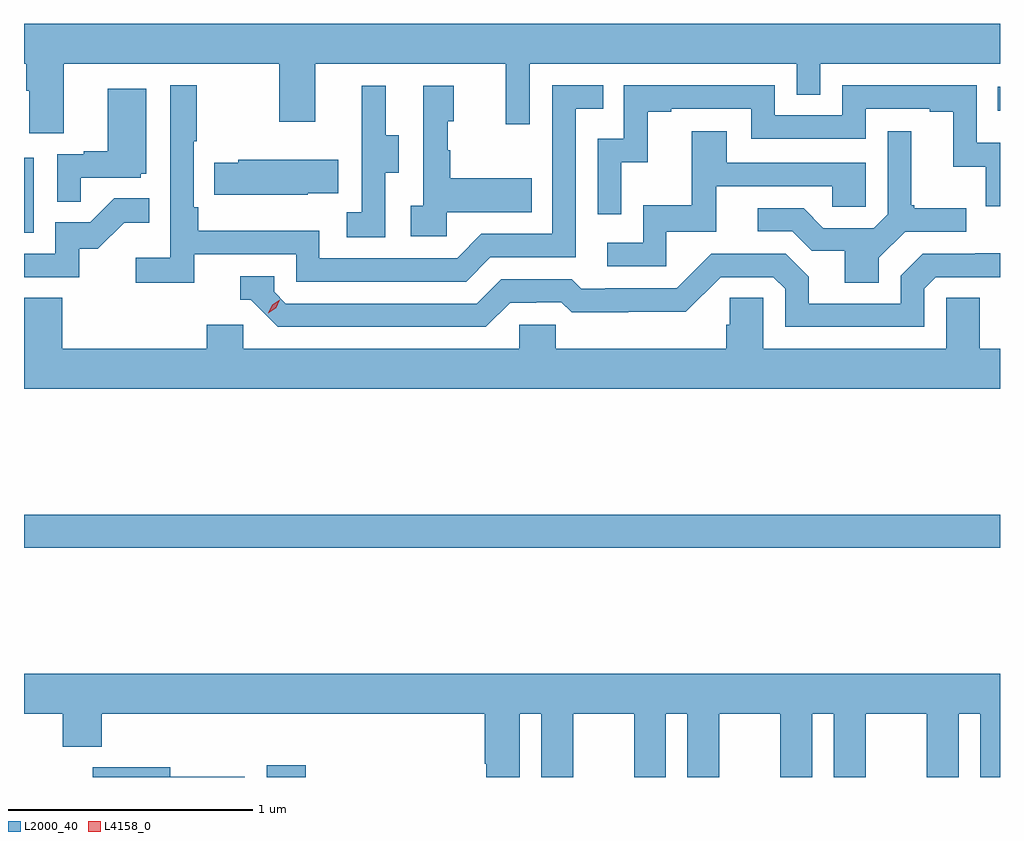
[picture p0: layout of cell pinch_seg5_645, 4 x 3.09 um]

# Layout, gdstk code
import gdstk
lib = gdstk.Library(unit=1e-6, precision=1e-09)
def R(c, l, rs):  # rectangles x0, y0, x1, y1
    for r in rs: c.add(gdstk.rectangle(r[:2], r[2:], *l))
def P(c, l, *ps):  # polygons
    for p in ps: c.add(gdstk.Polygon(p, *l))
L2000_40 = (2000, 40)
L4158_0 = (4158, 0)

pinch_seg5_645 = lib.new_cell('pinch_seg5_645')
R(pinch_seg5_645, L2000_40, [(1047.113,840.515,1047.274,840.565), (1046.119,841.456,1050.119,841.592), (1046.119,842.748,1046.158,843.055), (1050.109,843.248,1050.119,843.345)])
P(pinch_seg5_645, L2000_40, [(1046.281,843.44),(1047.166,843.44),(1047.166,843.201),(1047.313,843.201),(1047.313,843.44),(1048.094,843.44),(1048.094,843.192),(1048.191,843.192),(1048.191,843.44),(1049.286,843.44),(1049.286,843.313),(1049.382,843.313),(1049.382,843.44),(1050.119,843.44),(1050.119,843.604),(1046.119,843.604),(1046.119,843.44),(1046.129,843.44),(1046.129,843.328),(1046.141,843.328),(1046.141,843.154),(1046.281,843.154)],
  [(1046.816,842.658),(1047.234,842.658),(1047.234,842.547),(1047.931,842.547),(1048.03,842.646),(1048.38,842.646),(1048.38,843.255),(1048.493,843.255),(1048.493,843.351),(1048.284,843.351),(1048.284,842.742),(1047.993,842.742),(1047.894,842.643),(1047.33,842.643),(1047.33,842.755),(1046.834,842.755),(1046.834,842.851),(1046.814,842.851),(1046.814,843.121),(1046.827,843.121),(1046.827,843.352),(1046.718,843.352),(1046.718,842.644),(1046.577,842.644),(1046.577,842.542),(1046.816,842.542)],
  [(1048.566,843.035),(1048.676,843.035),(1048.676,843.243),(1048.771,843.243),(1048.771,843.255),(1049.1,843.255),(1049.1,843.132),(1049.568,843.132),(1049.568,843.255),(1049.831,843.255),(1049.831,843.243),(1049.927,843.243),(1049.927,843.017),(1050.06,843.017),(1050.06,842.856),(1050.119,842.856),(1050.119,843.115),(1050.024,843.115),(1050.024,843.351),(1049.472,843.351),(1049.472,843.228),(1049.196,843.228),(1049.196,843.351),(1048.578,843.351),(1048.578,843.132),(1048.47,843.132),(1048.47,842.823),(1048.566,842.823)],
  [(1047.852,842.831),(1048.199,842.831),(1048.199,842.971),(1047.865,842.971),(1047.865,843.086),(1047.855,843.086),(1047.855,843.204),(1047.88,843.204),(1047.88,843.349),(1047.756,843.349),(1047.756,842.858),(1047.705,842.858),(1047.705,842.733),(1047.852,842.733)],
  [(1047.6,842.992),(1047.655,842.992),(1047.655,843.147),(1047.601,843.147),(1047.601,843.349),(1047.503,843.349),(1047.503,843.135),(1047.504,843.135),(1047.504,842.831),(1047.441,842.831),(1047.441,842.728),(1047.6,842.728)],
  [(1046.351,842.973),(1046.598,842.973),(1046.598,842.988),(1046.62,842.988),(1046.62,843.337),(1046.462,843.337),(1046.462,843.082),(1046.363,843.082),(1046.363,843.069),(1046.256,843.069),(1046.256,842.875),(1046.351,842.875)],
  [(1049.623,842.644),(1049.73,842.751),(1049.98,842.751),(1049.98,842.848),(1049.767,842.848),(1049.767,842.86),(1049.755,842.86),(1049.755,843.163),(1049.658,843.163),(1049.658,842.823),(1049.601,842.766),(1049.395,842.766),(1049.314,842.847),(1049.127,842.847),(1049.127,842.754),(1049.268,842.754),(1049.348,842.674),(1049.483,842.674),(1049.483,842.542),(1049.623,842.542)],
  [(1048.752,842.751),(1048.957,842.751),(1048.957,842.937),(1049.431,842.937),(1049.431,842.853),(1049.568,842.853),(1049.568,843.033),(1048.999,843.033),(1048.999,843.163),(1048.855,843.163),(1048.855,842.86),(1048.656,842.86),(1048.656,842.706),(1048.509,842.706),(1048.509,842.61),(1048.752,842.61)],
  [(1047.282,842.909),(1047.407,842.909),(1047.407,843.046),(1046.997,843.046),(1046.997,843.033),(1046.899,843.033),(1046.899,842.903),(1047.282,842.903)],
  [(1046.346,842.682),(1046.422,842.682),(1046.529,842.789),(1046.633,842.789),(1046.633,842.888),(1046.489,842.888),(1046.391,842.79),(1046.247,842.79),(1046.247,842.661),(1046.119,842.661),(1046.119,842.565),(1046.346,842.565)],
  [(1048.111,842.46),(1048.218,842.46),(1048.218,842.463),(1048.321,842.463),(1048.363,842.421),(1048.596,842.421),(1048.596,842.423),(1048.832,842.423),(1048.974,842.565),(1049.19,842.565),(1049.238,842.517),(1049.238,842.361),(1049.808,842.361),(1049.808,842.517),(1049.856,842.565),(1050.119,842.565),(1050.119,842.663),(1050.018,842.663),(1050.018,842.661),(1049.802,842.661),(1049.712,842.571),(1049.712,842.457),(1049.335,842.457),(1049.335,842.567),(1049.241,842.661),(1048.935,842.661),(1048.794,842.52),(1048.501,842.52),(1048.501,842.517),(1048.402,842.517),(1048.363,842.556),(1048.074,842.556),(1047.975,842.457),(1047.192,842.457),(1047.144,842.505),(1047.144,842.568),(1047.005,842.568),(1047.005,842.472),(1047.048,842.472),(1047.159,842.361),(1048.012,842.361)],
  [(1050.119,842.272),(1050.037,842.272),(1050.037,842.48),(1049.898,842.48),(1049.898,842.272),(1049.148,842.272),(1049.148,842.48),(1049.011,842.48),(1049.011,842.37),(1048.997,842.37),(1048.997,842.272),(1048.299,842.272),(1048.299,842.37),(1048.149,842.37),(1048.149,842.272),(1047.018,842.272),(1047.018,842.37),(1046.867,842.37),(1046.867,842.272),(1046.276,842.272),(1046.276,842.48),(1046.119,842.48),(1046.119,842.108),(1050.119,842.108)],
  [(1048.15,840.776),(1048.238,840.776),(1048.238,840.515),(1048.369,840.515),(1048.369,840.776),(1048.619,840.776),(1048.619,840.515),(1048.75,840.515),(1048.75,840.776),(1048.838,840.776),(1048.838,840.515),(1048.969,840.515),(1048.969,840.776),(1049.219,840.776),(1049.219,840.515),(1049.35,840.515),(1049.35,840.776),(1049.438,840.776),(1049.438,840.515),(1049.569,840.515),(1049.569,840.776),(1049.819,840.776),(1049.819,840.515),(1049.95,840.515),(1049.95,840.776),(1050.038,840.776),(1050.038,840.515),(1050.119,840.515),(1050.119,840.94),(1046.119,840.94),(1046.119,840.776),(1046.278,840.776),(1046.278,840.641),(1046.438,840.641),(1046.438,840.776),(1048.007,840.776),(1048.007,840.571),(1048.013,840.571),(1048.013,840.515),(1048.15,840.515)],
  [(1047.024,840.518),(1046.719,840.518),(1046.719,840.556),(1046.401,840.556),(1046.401,840.515),(1047.024,840.515)])
P(pinch_seg5_645, L4158_0, [(1047.121,842.418),(1047.121,842.419),(1047.136,842.452),(1047.167,842.472),(1047.167,842.472),(1047.167,842.472),(1047.152,842.439),(1047.121,842.418)])

lib.write_gds('pinch_seg5_645.gds')
